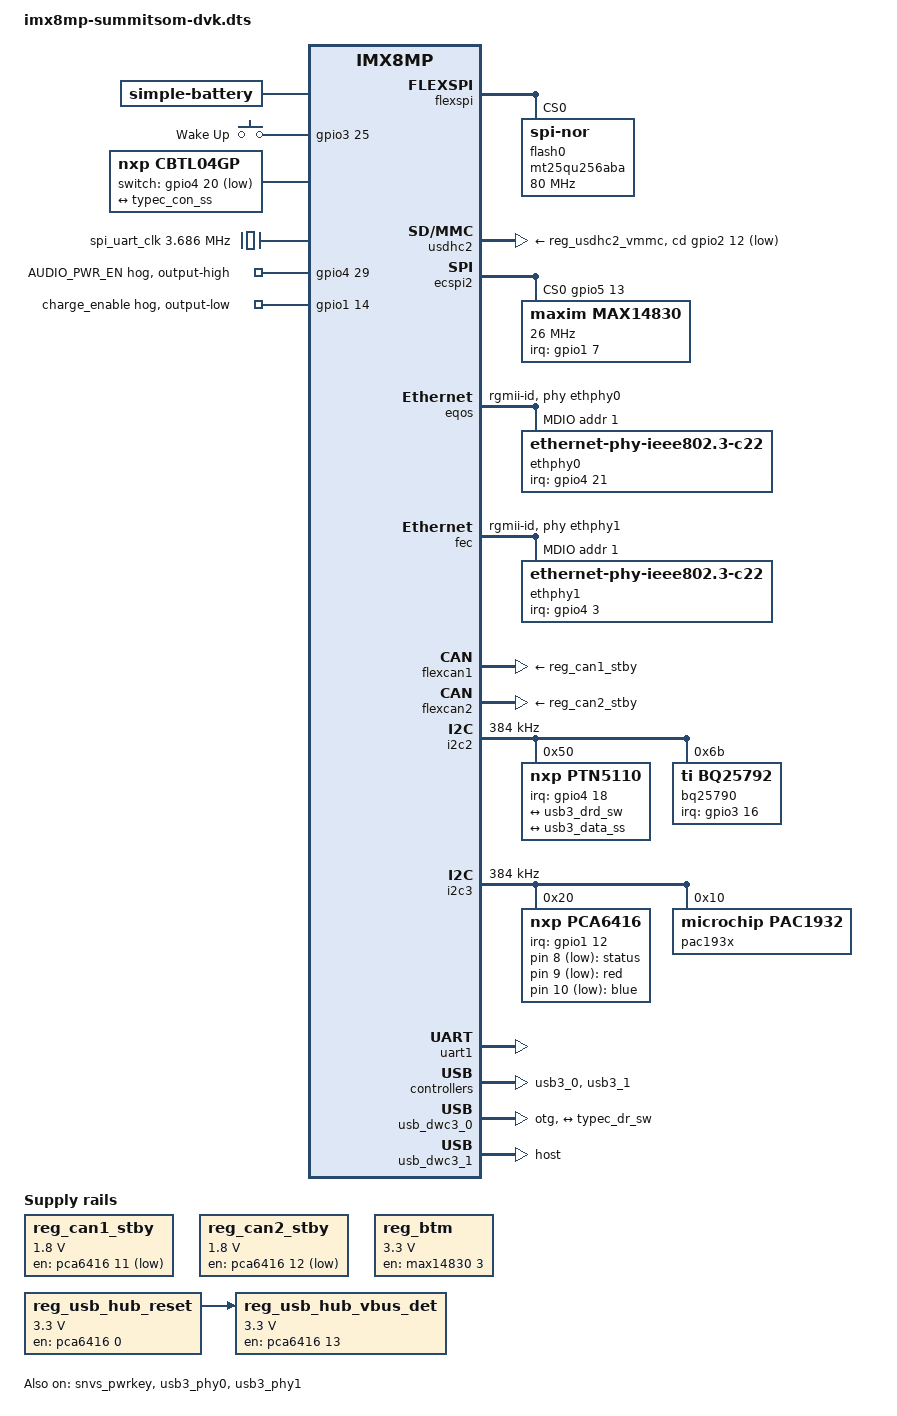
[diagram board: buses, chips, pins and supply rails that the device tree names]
// SPDX-License-Identifier: LicenseRef-Ezurio-Clause
/*
 * Copyright 2021 Ezurio
 */

/dts-v1/;

#include <dt-bindings/net/ti-dp83867.h>

#include "imx8mp-summitsom.dtsi"
#include "imx8mp-summitsom-sound.dtsi"

/ {
	aliases {
		gpio5 = &pca6416;
		gpio6 = &max14830;
	};

	bat: battery {
		compatible = "simple-battery";
		constant-charge-current-max-microamp = <3000000>;
		constant-charge-voltage-max-microvolt = <8400000>;
		precharge-current-microamp = <932000>;
		charge-term-current-microamp = <120000>;
	};

	leds: leds {
		compatible = "gpio-leds";

		status {
			label = "status";
			gpios = <&pca6416 8 GPIO_ACTIVE_LOW>;
			default-state = "on"; /* LED GREEN */
		};

		red {
			label = "red";
			gpios = <&pca6416 9 GPIO_ACTIVE_LOW>;
			default-state = "off";
		};

		blue {
			label = "blue";
			gpios = <&pca6416 10 GPIO_ACTIVE_LOW>;
			default-state = "off";
		};
	};

	system_wakeup {
		compatible = "gpio-keys";
		pinctrl-names = "default";
		pinctrl-0 = <&pinctrl_wakeup_keys>;

		wake-up {
			label = "Wake Up";
			interrupts-extended = <&gpio3 25 IRQ_TYPE_EDGE_FALLING>;
			interrupt-names = "irq";
			linux,code = <KEY_WAKEUP>;
			wakeup-source;
		};
	};

	reg_can1_stby: regulator-can1-stby {
		compatible = "regulator-fixed";
		regulator-name = "can1-stby";
		regulator-min-microvolt = <1800000>;
		regulator-max-microvolt = <1800000>;
		gpio = <&pca6416 11 GPIO_ACTIVE_HIGH>;
		enable-active-low;
	};

	reg_can2_stby: regulator-can2-stby {
		compatible = "regulator-fixed";
		regulator-name = "can2-stby";
		regulator-min-microvolt = <1800000>;
		regulator-max-microvolt = <1800000>;
		gpio = <&pca6416 12 GPIO_ACTIVE_HIGH>;
		enable-active-low;
	};

/*
	reg_lte: regulator-lte {
		compatible = "regulator-fixed";
		regulator-name = "VDDLTE";
		regulator-min-microvolt = <3800000>;
		regulator-max-microvolt = <3800000>;
		gpio = <&max14830 1 GPIO_ACTIVE_HIGH>;
		enable-active-high;
		regulator-always-on;
	};
*/

	reg_btm: regulator-btm {
		compatible = "regulator-fixed";
		regulator-name = "VDDBTM";
		regulator-min-microvolt = <3300000>;
		regulator-max-microvolt = <3300000>;
		gpio = <&max14830 3 GPIO_ACTIVE_HIGH>;
		enable-active-high;
		regulator-always-on;
	};

	reg_usb_hub_reset: regulator-usb_hub_reset {
		compatible = "regulator-fixed";
		regulator-name = "USB Hub Reset";
		regulator-min-microvolt = <3300000>;
		regulator-max-microvolt = <3300000>;
		gpio = <&pca6416 0 GPIO_ACTIVE_HIGH>;
		enable-active-high;

		startup-delay-us = <1000>;
		off-on-delay-us = <5>;
	};

	reg_usb_hub_vbus_det: regulator-usb_hub_vbus_det {
		compatible = "regulator-fixed";
		regulator-name = "USB Hub VBus Detect";
		regulator-min-microvolt = <3300000>;
		regulator-max-microvolt = <3300000>;
		gpio = <&pca6416 13 GPIO_ACTIVE_HIGH>;
		enable-active-high;

		vin-supply = <&reg_usb_hub_reset>;
	};

	cbtl04gp {
		compatible = "nxp,cbtl04gp";
		pinctrl-names = "default";
		pinctrl-0 = <&pinctrl_typec_mux>;
		switch-gpios = <&gpio4 20 GPIO_ACTIVE_LOW>;
		orientation-switch;

		port {
			usb3_data_ss: endpoint {
				remote-endpoint = <&typec_con_ss>;
			};
		};
	};

	clocks {
		spi_uart_clk: osc_max14830 {
			compatible = "fixed-clock";
			#clock-cells = <0>;
			clock-frequency = <3686400>;
		};
	};
};

&flexspi {
	pinctrl-names = "default";
	pinctrl-0 = <&pinctrl_flexspi0>;
	status = "okay";

	flash0: mt25qu256aba@0 {
		compatible = "jedec,spi-nor";
		reg = <0>;
		#address-cells = <1>;
		#size-cells = <1>;
		spi-max-frequency = <80000000>;
		spi-tx-bus-width = <1>;
		spi-rx-bus-width = <4>;
	};
};

&reg_usdhc2_vmmc {
	status = "okay";
};

&usdhc2 {
	pinctrl-names = "default", "state_100mhz", "state_200mhz";
	pinctrl-0 = <&pinctrl_usdhc2>, <&pinctrl_usdhc2_cd>;
	pinctrl-1 = <&pinctrl_usdhc2_100mhz>, <&pinctrl_usdhc2_cd>;
	pinctrl-2 = <&pinctrl_usdhc2_200mhz>, <&pinctrl_usdhc2_cd>;

	cd-gpios = <&gpio2 12 GPIO_ACTIVE_LOW>;

	vmmc-supply = <&reg_usdhc2_vmmc>;

	status = "okay";
};

&ecspi2 {
	pinctrl-names = "default";
	pinctrl-0 = <&pinctrl_ecspi2 &pinctrl_ecspi2_cs>;

	num-cs = <1>;
	cs-gpios = <&gpio5 13 GPIO_ACTIVE_HIGH>;

	status = "okay";

	max14830: max14830@0 {
		reg = <0>;
		spi-max-frequency = <26000000>;

		compatible = "maxim,max14830";

		clocks = <&spi_uart_clk>;
		clock-names = "xtal";

		pinctrl-names = "default";
		pinctrl-0 = <&pinctrl_max14830>;

		interrupts-extended = <&gpio1 7 IRQ_TYPE_LEVEL_LOW>;

		gpio-controller;
		#gpio-cells = <2>;

		gpio-line-names =
			"",                   // 0
			"lte_power",          // 1
			"",                   // 2
			"reg_btm",            // 3
			"",                   // 4
			"",                   // 5
			"ser_term",           // 6
			"ser_nrs232",         // 7
			"ser_nreset",         // 8
			"ser_rs485_hd",       // 9
			"",                   // 10
			"bt_reset",           // 11
			"bt_nautorun",        // 12
			"bt_boot_status",     // 13
			"",                   // 14
			"";                   // 15
	};
};

&eqos {
	pinctrl-names = "default";
	pinctrl-0 = <&pinctrl_eqos>;
	phy-mode = "rgmii-id";
	phy-handle = <&ethphy0>;
	status = "okay";

	mdio {
		compatible = "snps,dwmac-mdio";
		#address-cells = <1>;
		#size-cells = <0>;

		reset-gpios = <&gpio4 22 GPIO_ACTIVE_LOW>;
		reset-delay-us = <150>;
		reset-post-delay-us = <300>;

		ethphy0: ethernet-phy@1 {
			compatible = "ethernet-phy-ieee802.3-c22";
			reg = <1>;

			pinctrl-names = "default";
			pinctrl-0 = <&pinctrl_eqos_phy>;

			interrupt-parent = <&gpio4>;
			interrupts = <21 IRQ_TYPE_EDGE_FALLING>;

			ti,rx-internal-delay = <DP83867_RGMIIDCTL_2_00_NS>;
			ti,tx-internal-delay = <DP83867_RGMIIDCTL_2_00_NS>;
			ti,fifo-depth = <DP83867_PHYCR_FIFO_DEPTH_4_B_NIB>;
		};
	};
};

&fec {
	pinctrl-names = "default";
	pinctrl-0 = <&pinctrl_fec>;
	phy-mode = "rgmii-id";
	phy-handle = <&ethphy1>;
	fsl,magic-packet;
	status = "okay";

	mdio {
		#address-cells = <1>;
		#size-cells = <0>;

		reset-gpios = <&gpio4 2 GPIO_ACTIVE_LOW>;
		reset-delay-us = <150>;
		reset-post-delay-us = <300>;

		ethphy1: ethernet-phy@1 {
			compatible = "ethernet-phy-ieee802.3-c22";
			reg = <1>;

			pinctrl-names = "default";
			pinctrl-0 = <&pinctrl_fec_phy>;

			interrupt-parent = <&gpio4>;
			interrupts = <3 IRQ_TYPE_EDGE_FALLING>;

			ti,rx-internal-delay = <DP83867_RGMIIDCTL_2_00_NS>;
			ti,tx-internal-delay = <DP83867_RGMIIDCTL_2_00_NS>;
			ti,fifo-depth = <DP83867_PHYCR_FIFO_DEPTH_4_B_NIB>;
		};
	};
};

&flexcan1 {
	pinctrl-names = "default";
	pinctrl-0 = <&pinctrl_flexcan1>;
	xceiver-supply = <&reg_can1_stby>;
	status = "okay";
};

&flexcan2 {
	pinctrl-names = "default";
	pinctrl-0 = <&pinctrl_flexcan2>;
	xceiver-supply = <&reg_can2_stby>;
	status = "okay";
};

&i2c2 {
	clock-frequency = <384000>;
	pinctrl-names = "default";
	pinctrl-0 = <&pinctrl_i2c2>;
	status = "okay";

	#address-cells = <1>;
	#size-cells = <0>;

	ptn5110: tcpc@50 {
		compatible = "nxp,ptn5110";
		pinctrl-names = "default";
		pinctrl-0 = <&pinctrl_typec>;
		reg = <0x50>;
		interrupts-extended = <&gpio4 18 IRQ_TYPE_LEVEL_LOW>;
		interrupt-names = "irq";

		port {
			typec_dr_sw: endpoint {
				remote-endpoint = <&usb3_drd_sw>;
			};
		};

		usb_con: connector {
			compatible = "usb-c-connector";
			label = "USB-C";
			power-role = "dual";
			data-role = "dual";
			try-power-role = "sink";
			source-pdos = <PDO_FIXED(5000, 3000, PDO_FIXED_USB_COMM)>;
			sink-pdos = <PDO_FIXED(5000, 3000, PDO_FIXED_USB_COMM)
				     PDO_VAR(5000, 20000, 3000)>;
			op-sink-microwatt = <15000000>;
			self-powered;

			ports {
				#address-cells = <1>;
				#size-cells = <0>;

				port@1 {
					reg = <1>;
					typec_con_ss: endpoint {
						remote-endpoint = <&usb3_data_ss>;
					};
				};
			};
		};
	};

	bq25790: charger@6b {
		reg = <0x6b>;

		compatible = "ti,bq25792";

		pinctrl-names = "default";
		pinctrl-0 = <&pinctrl_bq25790>;

		interrupt-parent = <&gpio3>;
		interrupts = <16 IRQ_TYPE_EDGE_FALLING>;

		ti,watchdog-timeout-ms = <2000>;
		input-current-limit-microamp = <2000000>;
		input-voltage-limit-microvolt = <4500000>;
		monitored-battery = <&bat>;
	};
};

&i2c3 {
	clock-frequency = <384000>;
	pinctrl-names = "default";
	pinctrl-0 = <&pinctrl_i2c3>;
	status = "okay";

	#address-cells = <1>;
	#size-cells = <0>;

	pca6416: gpio@20 {
		compatible = "nxp,pca6416";
		reg = <0x20>;

		gpio-controller;
		#gpio-cells = <2>;

		interrupt-controller;
		#interrupt-cells = <2>;

		pinctrl-names = "default";
		pinctrl-0 = <&pinctrl_pca6416>;

		interrupts-extended = <&gpio1 12 IRQ_TYPE_EDGE_FALLING>;
		interrupt-names = "irq";

		gpio-line-names =
			"usb_hub_reset",      // 0
			"poe_type4_det",      // 1
			"poe_type2_det",      // 2
			"lte_on",             // 3
			"lte_reset",          // 4
			"lte_airplane",       // 5
			"lte_wakeup",         // 6
			"",                   // 7
			"status_led",         // 8
			"red_led",            // 9
			"blue_led",           // 10
			"can1_stby",          // 11
			"can2_stby",          // 12
			"usb_hub_vbus_det",   // 13
			"",                   // 14
			"";                   // 15
	};

	pac193x@10 {
		compatible = "microchip,pac1932";
		reg = <0x10>;

		#address-cells = <1>;
		#size-cells = <0>;

		ch1: channel1 {
			reg = <1>;
			shunt-resistor-micro-ohms = <33000>; /* shunt resistor is 33 mOhm */
			label = "MODULE";
		};

		ch2: channel2 {
			reg = <2>;
			shunt-resistor-micro-ohms = <33000>; /* shunt resistor is 33 mOhm */
			label = "BATTERY";
			bipolar;
		};
	};
};

&snvs_pwrkey {
	status = "okay";
};

&uart1 {
	pinctrl-names = "default";
	pinctrl-0 = <&pinctrl_uart1>;

	uart-has-rtscts;
	status = "okay";
};

&usb3_phy0 {
	vbus-power-supply = <&ptn5110>;

	fsl,phy-tx-vref-tune-percent = <122>;
	fsl,phy-tx-preemp-amp-tune-microamp = <1800>;
	fsl,phy-tx-vboost-level-microvolt = <1156>;
	fsl,phy-comp-dis-tune-percent = <115>;
	fsl,phy-pcs-tx-deemph-3p5db-attenuation-db = <33>;
	fsl,phy-pcs-tx-swing-full-percent = <100>;

	status = "okay";
};

&usb3_0 {
	status = "okay";
};

&usb_dwc3_0 {
	dr_mode = "otg";
	hnp-disable;
	srp-disable;
	adp-disable;
	usb-role-switch;
	role-switch-default-mode = "none";
	snps,dis-u1-entry-quirk;
	snps,dis-u2-entry-quirk;
	status = "okay";

	port {
		usb3_drd_sw: endpoint {
			remote-endpoint = <&typec_dr_sw>;
		};
	};
};

&usb3_phy1 {
	vbus-supply = <&reg_usb_hub_vbus_det>;

	fsl,phy-tx-preemp-amp-tune-microamp = <1800>;
	fsl,phy-tx-vref-tune-percent = <116>;

	status = "okay";
};

&usb3_1 {
	status = "okay";
};

&usb_dwc3_1 {
	dr_mode = "host";
	status = "okay";
};

&gpio4 {
	pinctrl-names = "default";
	pinctrl-0 = <&pinctrl_audpwr>;

	gpio-line-names =
		"fec_reset",          // 0
		"",                   // 1
		"fec_reset_phy",      // 2
		"ethphy1_interrupt",  // 3
		"",                   // 4
		"",                   // 5
		"",                   // 6
		"",                   // 7
		"",                   // 8
		"",                   // 9
		"",                   // 10
		"",                   // 11
		"",                   // 12
		"",                   // 13
		"",                   // 14
		"",                   // 15
		"",                   // 16
		"",                   // 17
		"typec_interrupt",    // 18
		"",                   // 19
		"typec_mux",          // 20
		"ethphy0_interrupt",  // 21
		"eqos_reset",         // 22
		"",                   // 23-28
		"",
		"",
		"",
		"",
		"AUDIO_PWR_EN";       // 29

	/* workaround for i2c bus lockup */
	audpwr-hog {
		gpio-hog;
		gpios = <29 GPIO_ACTIVE_HIGH>;
		output-high;
		line-name = "AUDIO_PWR_EN";
	};
};

&gpio1 {
	pinctrl-names = "default";
	pinctrl-0 = <&pinctrl_bq25790_misc>;

	gpio-line-names =
		"",                   // 0
		"",                   // 1
		"",                   // 2
		"",                   // 3
		"",                   // 4
		"",                   // 5
		"",                   // 6
		"max14830_interrupt", // 7
		"",                   // 8
		"",                   // 9
		"",                   // 10
		"",                   // 11
		"pca6416_interrupt",  // 12
		"",                   // 13
		"charge_enable",      // 14
		"",                   // 15
		"",                   // 16
		"",                   // 17
		"",                   // 18
		"",                   // 19
		"",                   // 20
		"",                   // 21
		"",                   // 22
		"",                   // 23
		"",                   // 24
		"",                   // 25
		"",                   // 26
		"",                   // 27
		"",                   // 28
		"",                   // 29
		"",                   // 30
		"";                   // 31

	charge_enable-hog {
		gpio-hog;
		gpios = <14 GPIO_ACTIVE_HIGH>;
		output-low;
		line-name = "charge_enable";
	};
};

&gpio2 {
	gpio-line-names =
		"",                   // 0
		"",                   // 1
		"",                   // 2
		"",                   // 3
		"",                   // 4
		"",                   // 5
		"",                   // 6
		"",                   // 7
		"",                   // 8
		"",                   // 9
		"",                   // 10
		"",                   // 11
		"usdhc2_cd",          // 12
		"",                   // 13
		"",                   // 14
		"",                   // 15
		"",                   // 16
		"",                   // 17
		"",                   // 18
		"",                   // 19
		"",                   // 20
		"",                   // 21
		"",                   // 22
		"",                   // 23
		"",                   // 24
		"",                   // 25
		"",                   // 26
		"",                   // 27
		"",                   // 28
		"",                   // 29
		"",                   // 30
		"";                   // 31
};

&gpio3 {
	gpio-line-names =
		"",                   // 0
		"",                   // 1
		"",                   // 2
		"",                   // 3
		"",                   // 4
		"",                   // 5
		"",                   // 6
		"",                   // 7
		"",                   // 8
		"",                   // 9
		"",                   // 10
		"",                   // 11
		"",                   // 12
		"",                   // 13
		"",                   // 14
		"",                   // 15
		"bq25790_interrupt",  // 16
		"",                   // 17
		"",                   // 18
		"",                   // 19
		"",                   // 20
		"",                   // 21
		"",                   // 22
		"",                   // 23
		"",                   // 24
		"system_wakeup",      // 25
		"",                   // 26
		"",                   // 27
		"",                   // 28
		"",                   // 29
		"",                   // 30
		"";                   // 31
};

&gpio5 {
	gpio-line-names =
		"",                   // 0
		"",                   // 1
		"",                   // 2
		"",                   // 3
		"",                   // 4
		"",                   // 5
		"",                   // 6
		"",                   // 7
		"",                   // 8
		"",                   // 9
		"",                   // 10
		"",                   // 11
		"",                   // 12
		"ecspi2_cs",          // 13
		"",                   // 14
		"",                   // 15
		"i2c2_scl",           // 16
		"i2c2_sda",           // 17
		"i2c3_scl",           // 18
		"i2c3_sda",           // 19
		"",                   // 20
		"",                   // 21
		"",                   // 22
		"",                   // 23
		"",                   // 24
		"",                   // 25
		"",                   // 26
		"",                   // 27
		"",                   // 28
		"",                   // 29
		"",                   // 30
		"";                   // 31
};


&iomuxc {
	pinctrl_usdhc2_cd: usdhc2-cd-grp {
		fsl,pins = <
			MX8MP_IOMUXC_SD2_CD_B__GPIO2_IO12		0x000001c4
		>;
	};

	pinctrl_ecspi2: ecspi2-grp {
		fsl,pins = <
			MX8MP_IOMUXC_ECSPI2_SCLK__ECSPI2_SCLK		0x00000092
			MX8MP_IOMUXC_ECSPI2_MOSI__ECSPI2_MOSI		0x00000092
			MX8MP_IOMUXC_ECSPI2_MISO__ECSPI2_MISO		0x00000092
		>;
	};

	pinctrl_ecspi2_cs: ecspi2-cs-grp {
		fsl,pins = <
			MX8MP_IOMUXC_ECSPI2_SS0__GPIO5_IO13		0x40000112
		>;
	};

	pinctrl_max14830: max14830-grp {
		fsl,pins = <
			MX8MP_IOMUXC_GPIO1_IO07__GPIO1_IO07		0x000001D0
		>;
	};

	pinctrl_eqos: eqos-grp {
		fsl,pins = <
			MX8MP_IOMUXC_ENET_MDC__ENET_QOS_MDC		0x00000002
			MX8MP_IOMUXC_ENET_MDIO__ENET_QOS_MDIO		0x00000082
			MX8MP_IOMUXC_ENET_RD0__ENET_QOS_RGMII_RD0	0x00000090
			MX8MP_IOMUXC_ENET_RD1__ENET_QOS_RGMII_RD1	0x00000090
			MX8MP_IOMUXC_ENET_RD2__ENET_QOS_RGMII_RD2	0x00000090
			MX8MP_IOMUXC_ENET_RD3__ENET_QOS_RGMII_RD3	0x00000090
			MX8MP_IOMUXC_ENET_RXC__CCM_ENET_QOS_CLOCK_GENERATE_RX_CLK	0x00000090
			MX8MP_IOMUXC_ENET_RX_CTL__ENET_QOS_RGMII_RX_CTL	0x00000090
			MX8MP_IOMUXC_ENET_TD0__ENET_QOS_RGMII_TD0	0x00000016
			MX8MP_IOMUXC_ENET_TD1__ENET_QOS_RGMII_TD1	0x00000016
			MX8MP_IOMUXC_ENET_TD2__ENET_QOS_RGMII_TD2	0x00000016
			MX8MP_IOMUXC_ENET_TD3__ENET_QOS_RGMII_TD3	0x00000016
			MX8MP_IOMUXC_ENET_TX_CTL__ENET_QOS_RGMII_TX_CTL	0x00000016
			MX8MP_IOMUXC_ENET_TXC__CCM_ENET_QOS_CLOCK_GENERATE_TX_CLK	0x00000016
			MX8MP_IOMUXC_SAI2_RXC__GPIO4_IO22		0x00000000
		>;
	};

	pinctrl_eqos_phy: eqos-phy-grp {
		fsl,pins = <
			MX8MP_IOMUXC_SAI2_RXFS__GPIO4_IO21		0x000001C0
		>;
	};

	pinctrl_fec: fec-grp {
		fsl,pins = <
			MX8MP_IOMUXC_SAI1_RXD2__ENET1_MDC		0x00000002
			MX8MP_IOMUXC_SAI1_RXD3__ENET1_MDIO		0x00000082
			MX8MP_IOMUXC_SAI1_RXD4__ENET1_RGMII_RD0		0x00000090
			MX8MP_IOMUXC_SAI1_RXD5__ENET1_RGMII_RD1		0x00000090
			MX8MP_IOMUXC_SAI1_RXD6__ENET1_RGMII_RD2		0x00000090
			MX8MP_IOMUXC_SAI1_RXD7__ENET1_RGMII_RD3		0x00000090
			MX8MP_IOMUXC_SAI1_TXC__ENET1_RGMII_RXC		0x00000090
			MX8MP_IOMUXC_SAI1_TXFS__ENET1_RGMII_RX_CTL	0x00000090
			MX8MP_IOMUXC_SAI1_TXD0__ENET1_RGMII_TD0		0x00000016
			MX8MP_IOMUXC_SAI1_TXD1__ENET1_RGMII_TD1		0x00000016
			MX8MP_IOMUXC_SAI1_TXD2__ENET1_RGMII_TD2		0x00000016
			MX8MP_IOMUXC_SAI1_TXD3__ENET1_RGMII_TD3		0x00000016
			MX8MP_IOMUXC_SAI1_TXD4__ENET1_RGMII_TX_CTL	0x00000016
			MX8MP_IOMUXC_SAI1_TXD5__ENET1_RGMII_TXC		0x00000016
			MX8MP_IOMUXC_SAI1_RXD1__GPIO4_IO03		0x00000000
		>;
	};

	pinctrl_fec_phy: fec-phy-grp {
		fsl,pins = <
			MX8MP_IOMUXC_SAI1_RXD0__GPIO4_IO02		0x000001C0
		>;
	};

	pinctrl_flexcan1: flexcan1-grp {
		fsl,pins = <
			MX8MP_IOMUXC_SPDIF_RX__CAN1_RX			0x000001d4
			MX8MP_IOMUXC_SPDIF_TX__CAN1_TX			0x000001d4
		>;
	};

	pinctrl_flexcan2: flexcan2-grp {
		fsl,pins = <
			MX8MP_IOMUXC_SAI2_MCLK__CAN2_RX			0x000001d4
			MX8MP_IOMUXC_SAI5_RXD3__CAN2_TX			0x000001d4
		>;
	};

	pinctrl_flexspi0: flexspi0-grp {
		fsl,pins = <
			MX8MP_IOMUXC_NAND_ALE__FLEXSPI_A_SCLK		0x000001c2
			MX8MP_IOMUXC_NAND_CE0_B__FLEXSPI_A_SS0_B	0x00000082
			MX8MP_IOMUXC_NAND_DATA00__FLEXSPI_A_DATA00	0x00000082
			MX8MP_IOMUXC_NAND_DATA01__FLEXSPI_A_DATA01	0x00000082
			MX8MP_IOMUXC_NAND_DATA02__FLEXSPI_A_DATA02	0x00000082
			MX8MP_IOMUXC_NAND_DATA03__FLEXSPI_A_DATA03	0x00000082
		>;
	};

	pinctrl_i2c2: i2c2-grp {
		fsl,pins = <
			MX8MP_IOMUXC_I2C2_SCL__I2C2_SCL			0x400001c2
			MX8MP_IOMUXC_I2C2_SDA__I2C2_SDA			0x400001c2
		>;
	};

	pinctrl_i2c2_gpio: i2c2-gpio-grp {
		fsl,pins = <
			MX8MP_IOMUXC_I2C2_SCL__GPIO5_IO16        	0x1c2
			MX8MP_IOMUXC_I2C2_SDA__GPIO5_IO17        	0x1c2
		>;
	};

	pinctrl_i2c3: i2c3-grp {
		fsl,pins = <
			MX8MP_IOMUXC_I2C3_SCL__I2C3_SCL			0x400001c2
			MX8MP_IOMUXC_I2C3_SDA__I2C3_SDA			0x400001c2
		>;
	};

	pinctrl_i2c3_gpio: i2c3-gpio-grp {
		fsl,pins =
			<MX8MP_IOMUXC_I2C3_SCL__GPIO5_IO18		0x400001c2>,
			<MX8MP_IOMUXC_I2C3_SDA__GPIO5_IO19		0x400001c2>;
	};
	
	pinctrl_pca6416: pca6416-grp {
		fsl,pins = <
			MX8MP_IOMUXC_GPIO1_IO12__GPIO1_IO12		0x00000080
		>;
	};

	pinctrl_typec: typec1-grp {
		fsl,pins = <
			MX8MP_IOMUXC_SAI1_TXD6__GPIO4_IO18		0x000001c4
		>;
	};

	pinctrl_typec_mux: typec1mux-grp {
		fsl,pins = <
			MX8MP_IOMUXC_SAI1_MCLK__GPIO4_IO20		0x00000016
		>;
	};

	pinctrl_bq25790_misc: bq25790-misc-grp {
		fsl,pins = <
			MX8MP_IOMUXC_GPIO1_IO14__GPIO1_IO14		0x40000106
		>;
	};

	pinctrl_bq25790: bq25790-grp {
		fsl,pins = <
			MX8MP_IOMUXC_NAND_READY_B__GPIO3_IO16		0x400001C6
		>;
	};

	pinctrl_uart1: uart1-grp {
		fsl,pins = <
			MX8MP_IOMUXC_UART1_RXD__UART1_DCE_RX		0x000001C0
			MX8MP_IOMUXC_UART1_TXD__UART1_DCE_TX		0x000001C0
			MX8MP_IOMUXC_UART3_RXD__UART1_DCE_CTS		0x000001C0
			MX8MP_IOMUXC_UART3_TXD__UART1_DCE_RTS		0x000001C0
		>;
	};

	pinctrl_wakeup_keys: wakeup_keys-grp {
		fsl,pins = <
			MX8MP_IOMUXC_SAI5_MCLK__GPIO3_IO25		0x000001C6
		>;
	};

	pinctrl_audpwr: audpwrgrp {
		fsl,pins = <
			MX8MP_IOMUXC_SAI3_RXC__GPIO4_IO29		0x00000002
		>;
	};
};
